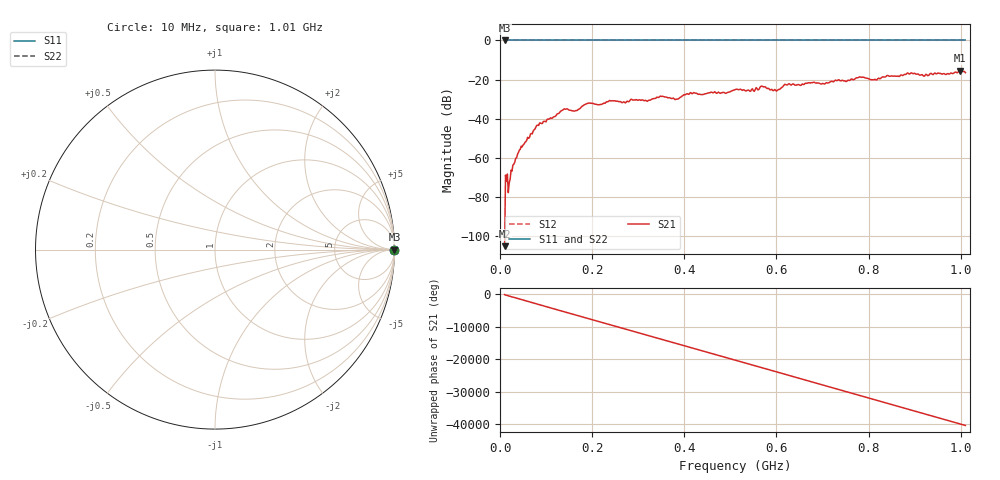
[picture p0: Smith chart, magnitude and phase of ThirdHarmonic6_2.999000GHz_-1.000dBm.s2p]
! 8/17/2025 8:34:17 AM
! C:\ANRITSUVNA\TEMP\TEMP.S2P
! CHANNEL.1
! TR.MEASUREMENT
! RAW.DATA
! RF.CORRECTION.OFF
! AVERAGING.OFF
! IF.BANDWIDTH: 5KHZ
! SWEEPTYPE:  FREQ.SWEEP(Linear)
! Reference Plane Port Info
! PORT:  PORT1  PORT2
! DISTANCE:  0  m  0  m
! TIME:  0  s  0  s
! PHASE.OFFSET:  0  deg.  0  deg.
! LOSS:  0  dB  0  dB
! REF.LOSS:  0  dB  0  dB
! REF.FREQ:  0  Hz  0  Hz
! Power Info
! POWER:  -20  dBm  -20  dBm
! EFF.POWER:  -20  dBm  -20  dBm
! SOURCE.ATTEN:  0  dB  0  dB
! TEST.ATTEN:  0  dB  0  dB
# GHZ S RI R 50.0
! FREQ.GHZ  S11RE  S11IM  S21RE  S21IM  S12RE  S12IM  S22RE  S22IM
!; PortSelection: Port_12
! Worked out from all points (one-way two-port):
!   501 points, 10 MHz to 1.01 GHz, reference 50 ohm
!   highest |S21| = -15.42 dB at 998 MHz (marker M1); lowest = -105.2 dB at 10 MHz (marker M2)
!   lowest |S11| = 0.0 dB at 10 MHz (marker M3)
!   |S11| at or under -10 dB: nowhere
!   |S22| runs from 0.0 to 0.0 dB; largest |S21 - S12| = 1.2
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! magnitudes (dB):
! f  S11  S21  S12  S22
! 10 MHz  0.0  -105.2  0.0  0.0
! 16 MHz  0.0  -68.3  0.0  0.0
! 22 MHz  0.0  -71.0  0.0  0.0
! 28 MHz  0.0  -63.8  0.0  0.0
! 42 MHz  0.0  -56.1  0.0  0.0
! 82 MHz  0.0  -43.4  0.0  0.0
! 136 MHz  0.0  -35.6  0.0  0.0
! 164 MHz  0.0  -35.9  0.0  0.0
! 178 MHz  0.0  -33.7  0.0  0.0
! 344 MHz  0.0  -29.2  0.0  0.0
! 384 MHz  0.0  -30.0  0.0  0.0
! 416 MHz  0.0  -27.2  0.0  0.0
! 510 MHz  0.0  -25.2  0.0  0.0
! 548 MHz  0.0  -24.8  0.0  0.0
! 570 MHz  0.0  -23.5  0.0  0.0
! 598 MHz  0.0  -25.4  0.0  0.0
! 622 MHz  0.0  -22.7  0.0  0.0
! 678 MHz  0.0  -21.6  0.0  0.0
! 814 MHz  0.0  -19.9  0.0  0.0
! 844 MHz  0.0  -18.3  0.0  0.0
! 998 MHz  0.0  -15.4  0.0  0.0
! 1.01 GHz  0.0  -16.5  0.0  0.0
